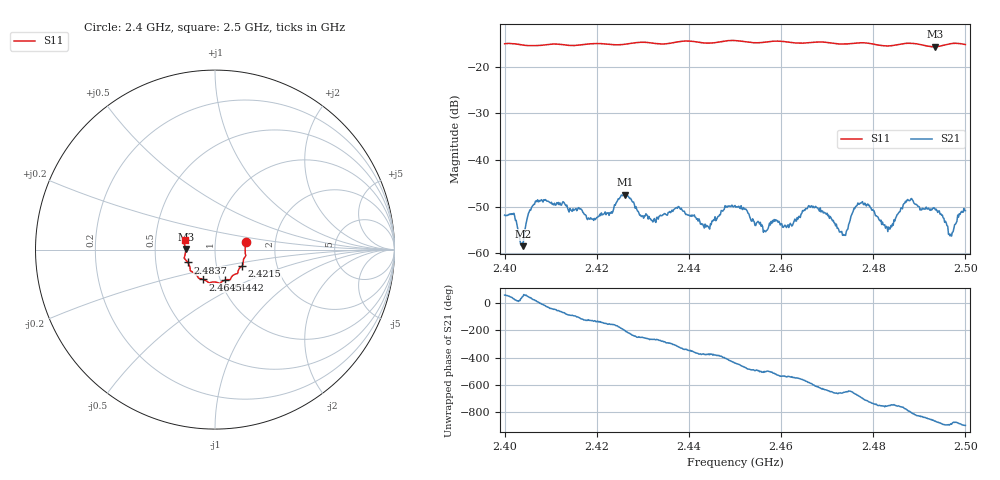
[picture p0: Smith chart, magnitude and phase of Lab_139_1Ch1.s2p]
# Hz S RI R 50
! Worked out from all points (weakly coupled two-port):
!   601 points, 2.4 GHz to 2.5 GHz, reference 50 ohm
!   highest |S21| = -47.41 dB at 2.4262 GHz (marker M1); lowest = -58.5 dB at 2.404 GHz (marker M2)
!   lowest |S11| = -15.7 dB at 2.4935 GHz (marker M3), VSWR 1.39, Z = 35.9 + j0.291 ohm
!   |S11| at or under -10 dB: start of sweep to end of sweep
!   S12 and S22 are empty: the file has one direction only
!   S11 on the Smith chart (normalised r, x): 2.4 GHz: 1.41, +0.12; 2.4215 GHz: 1.33, -0.25; 2.4442 GHz: 1.05, -0.37; 2.4645 GHz: 0.83, -0.29; 2.4837 GHz: 0.73, -0.11; 2.5 GHz: 0.71, +0.07
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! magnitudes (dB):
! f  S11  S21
! 2.4 GHz  -15.1  -51.8
! 2.402 GHz  -15.1  -51.4
! 2.404 GHz  -15.4  -58.5
! 2.4072 GHz  -15.5  -48.5
! 2.4167 GHz  -15.3  -50.6
! 2.4215 GHz  -15.1  -51.6
! 2.4262 GHz  -15.2  -47.4
! 2.4333 GHz  -15.1  -52.7
! 2.4378 GHz  -14.6  -50.0
! 2.4442 GHz  -15.0  -54.2
! 2.45 GHz  -14.4  -49.8
! 2.4567 GHz  -14.7  -55.4
! 2.4645 GHz  -15.0  -51.4
! 2.4667 GHz  -14.8  -49.8
! 2.4735 GHz  -15.1  -56.0
! 2.4772 GHz  -14.9  -49.2
! 2.4833 GHz  -15.6  -54.4
! 2.4837 GHz  -15.5  -54.8
! 2.4878 GHz  -15.0  -48.7
! 2.4935 GHz  -15.7  -50.7
! 2.4968 GHz  -15.1  -55.9
! 2.5 GHz  -15.3  -50.9
